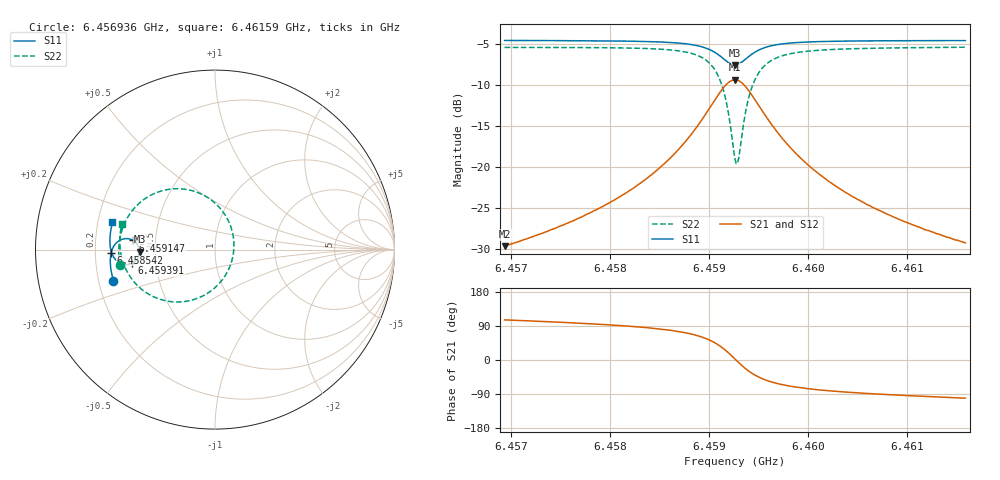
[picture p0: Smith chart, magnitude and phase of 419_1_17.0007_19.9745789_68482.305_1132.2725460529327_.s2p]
#  HZ  S  RI  R  50.00
! Rohde & Schwarz Vector Network Analyzer
! Rohde-Schwarz,ZNB20-2Port,1311601062101988,3.16
! Created: UTC 3/20/2024, 11:10:52 PM
! freq[Hz]  re:S11  im:S11  re:S21  im:S21  re:S12  im:S12  re:S22  im:S22
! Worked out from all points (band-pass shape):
!   401 points, 6.456936 GHz to 6.46159 GHz, reference 50 ohm
!   highest |S21| = -9.34 dB at 6.459263 GHz (marker M1); lowest = -29.6 dB at 6.456936 GHz (marker M2)
!   |S21| within 3 dB of the highest: 6.459031 GHz to 6.459496 GHz (464.8 kHz wide, 0.0072 % of centre)
!   lowest |S11| = -7.5 dB at 6.459263 GHz (marker M3), VSWR 2.45, Z = 20.4 - j0.539 ohm
!   |S11| at or under -10 dB: nowhere
!   |S22| runs from -19.6 to -5.4 dB; largest |S21 - S12| = 0.013
!   S11 on the Smith chart (normalised r, x): 6.456936 GHz: 0.26, -0.14; 6.458542 GHz: 0.27, -0.01; 6.459147 GHz: 0.37, +0.05; 6.459391 GHz: 0.37, -0.07; 6.46159 GHz: 0.26, +0.12
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6.4569361e9  -0.5658 -0.1754  -0.00905 0.0319  -0.00736 0.0319  -0.5298 -0.0882
6.4577157e9  -0.5802 -0.1075  -0.0058 0.0497  -0.00334 0.0491  -0.536 0.00189
6.4581578e9  -0.5835 -0.0633  0.000174 0.0697  0.00337 0.0684  -0.528 0.0712
6.4584952e9  -0.5799 -0.0232  0.0134 0.0975  0.0174 0.0948  -0.5038 0.1466
6.4585417e9  -0.5785 -0.0169  0.0167 0.1028  0.0208 0.0999  -0.4978 0.1595
6.4587512e9  -0.5665 0.0149  0.0425 0.1343  0.0467 0.1296  -0.4496 0.2309
6.4589024e9  -0.5456 0.0412  0.0846 0.1644  0.088 0.1579  -0.3723 0.2949
6.4590537e9  -0.4998 0.061  0.1752 0.1836  0.1764 0.1762  -0.2065 0.3393
6.4591467e9  -0.4557 0.0511  0.2643 0.1531  0.2644 0.1472  -0.0419 0.2908
6.4591933e9  -0.4348 0.0326  0.3076 0.1109  0.3088 0.1058  0.0404 0.2159
6.4592631e9  -0.42 -0.0109  0.341 0.0153  0.3444 0.00846  0.1055 0.0389
6.4592747e9  -0.4205 -0.0188  0.3409 -0.00218  0.3444 -0.00976  0.1054 0.00575
6.459298e9  -0.4239 -0.0343  0.3355 -0.0366  0.3391 -0.0456  0.0947 -0.0593
6.4593445e9  -0.4392 -0.0599  0.3076 -0.0958  0.3095 -0.1076  0.0384 -0.1713
6.4593911e9  -0.461 -0.0761  0.266 -0.1365  0.2652 -0.1495  -0.045 -0.2456
6.4594842e9  -0.5039 -0.0828  0.1824 -0.1676  0.1764 -0.1789  -0.2115 -0.2919
6.4596354e9  -0.5472 -0.0623  0.0955 -0.1543  0.0872 -0.1604  -0.3771 -0.2438
6.4598099e9  -0.5695 -0.0328  0.0491 -0.1251  0.0417 -0.1277  -0.4606 -0.1684
6.4600426e9  -0.5812 0.000931  0.0223 -0.0959  0.0165 -0.0964  -0.5044 -0.0914
6.46038e9  -0.5856 0.0407  0.00668 -0.0701  0.00259 -0.0697  -0.5257 -0.0151
6.4608222e9  -0.5836 0.085  -0.00143 -0.0513  -0.00411 -0.0503  -0.5302 0.0551
6.4615901e9  -0.5711 0.1529  -0.00637 -0.0341  -0.00812 -0.0332  -0.5188 0.1447
